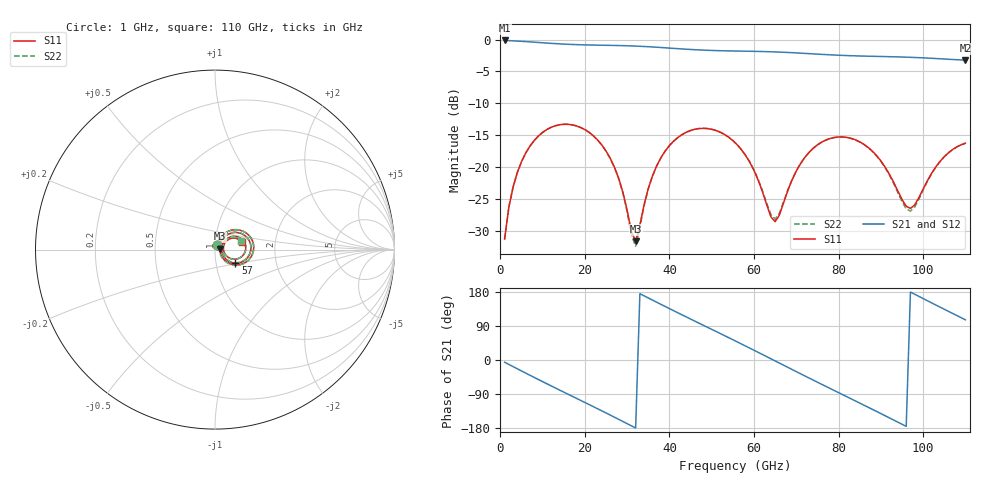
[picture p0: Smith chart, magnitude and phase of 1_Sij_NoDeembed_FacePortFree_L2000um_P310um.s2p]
! Touchstone file exported from HFSS 2024.2.0
!  File:  C:/Users/vaintrug/Documents/Ansoft_Workspace/Comparaison_Calculs_HFSS/1_VarPort.aedt
!  Generated:  03:22:19 PM Jan 21, 2025
!  Design:  1_NoDeembed_FacePortFree
!  Project:  1_VarPort
!  Setup:  Setup1
!  Solution:  Sweep
! Variables:
!  $Lenght = 2000um
!  $PortSize = 310um
!  Gap = 30um
!  Th = 2um
!  X_centralStrip = 20um
!  X_masse = 200um
!  Y_Sub = 2mm
!  Z_Box = 400um
!  Z_Sub = 200um
# GHz S MA R 50.000000
! Terminal data exported
! Port[1] = 1
! Port[2] = 2
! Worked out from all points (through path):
!   110 points, 1 GHz to 110 GHz, reference 50 ohm
!   highest |S21| = -0.13 dB at 1 GHz (marker M1); lowest = -3.2 dB at 110 GHz (marker M2)
!   group delay of S21, straight-line fit = 15.5 ps
!   lowest |S11| = -31.7 dB at 32 GHz (marker M3), VSWR 1.05, Z = 52.6 + j0.457 ohm
!   |S11| at or under -10 dB: start of sweep to end of sweep
!   |S22| runs from -32.5 to -13.3 dB; largest |S21 - S12| = 2e-15
!   S11 on the Smith chart (normalised r, x): 1 GHz: 1.03, +0.05; 57 GHz: 1.24, -0.19; 110 GHz: 1.34, +0.11
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1  0.02709 60.8  0.9854 -5.9  0.9854 -5.9  0.02709 60.8
! Gamma 6.12509611452109 50.1394943406251 6.2500872445914 50.028043855196
! Port Impedance 50 0 50 0
3  0.0694 65.6  0.9784 -17.4  0.9784 -17.4  0.06939 65.6
7  0.1457 48.8  0.9604 -40.3  0.9604 -40.3  0.1457 48.7
13  0.2105 18.0  0.9308 -73.8  0.9308 -73.8  0.2105 17.9
20  0.1962 -17.0  0.9096 -112.2  0.9096 -112.2  0.196 -17.3
27  0.09914 -46.1  0.9003 -151.1  0.9003 -151.1  0.09857 -47.1
32  0.02601 9.6  0.8899 -179.4  0.8899 -179.4  0.02383 10.8
35  0.06788 54.0  0.8798 163.6  0.8798 163.6  0.06721 56.0
38  0.1184 48.1  0.8673 146.7  0.8673 146.7  0.1182 49.4
43  0.1797 27.3  0.8453 119.0  0.8453 119.0  0.1797 28.3
47  0.2001 9.1  0.8305 97.1  0.8305 97.1  0.2003 10.0
51  0.1932 -9.0  0.8204 75.4  0.8204 75.4  0.1935 -8.1
56  0.1494 -29.8  0.8134 47.9  0.8134 47.9  0.1499 -28.8
57  0.1367 -33.4  0.8124 42.4  0.8124 42.4  0.1373 -32.3
65  0.03713 3.4  0.8009 -2.5  0.8009 -2.5  0.03883 3.4
70  0.09281 42.2  0.7867 -30.7  0.7867 -30.7  0.09324 41.7
74  0.1401 31.2  0.773 -53.1  0.773 -53.1  0.1402 31.0
83  0.1675 -5.0  0.7476 -102.6  0.7476 -102.6  0.1672 -5.0
92  0.08789 -30.4  0.7348 -152.6  0.7348 -152.6  0.08656 -30.8
97  0.04718 5.5  0.7263 179.2  0.7263 179.2  0.04492 7.0
103  0.09997 36.4  0.7107 145.2  0.7107 145.2  0.09942 38.6
110  0.1536 15.6  0.6895 106.1  0.6895 106.1  0.1533 17.2
